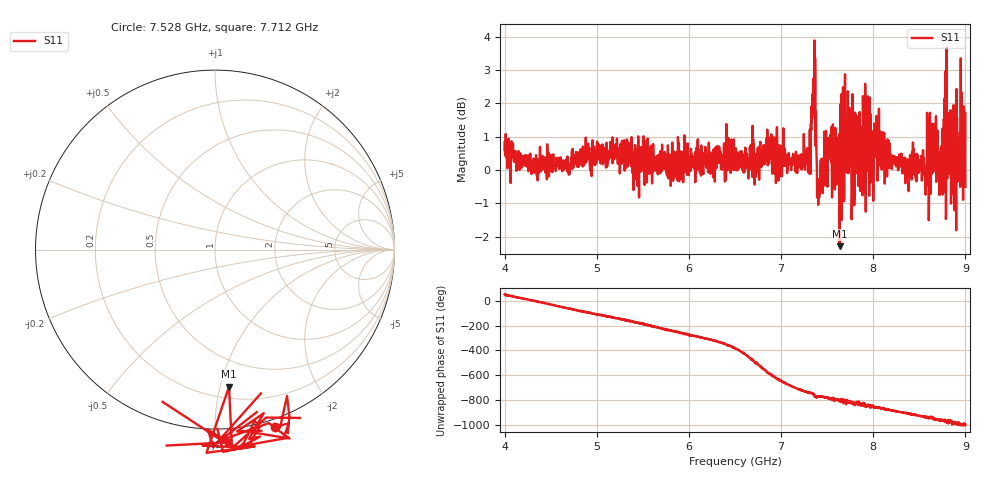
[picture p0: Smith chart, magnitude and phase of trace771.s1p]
! Created with skrf 1.8.0 (http://scikit-rf.org).
# Hz S RI R 50.0
!freq ReS11 ImS11
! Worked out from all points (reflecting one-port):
!   1601 points, 4 GHz to 9 GHz, reference 50 ohm
!   lowest |S11| = -2.3 dB at 7.634 GHz (marker M1), VSWR 7.63, Z = 14.3 - j53.3 ohm
!   phase of S11 starts at 51 deg and turns -1051 deg over the sweep
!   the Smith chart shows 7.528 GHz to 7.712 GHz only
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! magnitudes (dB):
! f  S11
! 4 GHz  0.6
! 4.625 GHz  0.0
! 5.25 GHz  -0.1
! 5.875 GHz  0.3
! 6.5 GHz  0.4
! 6.869 GHz  0.2
! 7.125 GHz  0.3
! 7.294 GHz  -0.1
! 7.347 GHz  2.3
! 7.362 GHz  3.9
! 7.4 GHz  -0.4
! 7.412 GHz  -0.8
! 7.512 GHz  0.9
! 7.634 GHz  -2.3
! 7.716 GHz  -0.1
! 7.75 GHz  0.7
! 7.784 GHz  0.7
! 7.928 GHz  1.1
! 7.981 GHz  0.4
! 8.038 GHz  0.5
! 8.375 GHz  -0.1
! 8.581 GHz  -0.4
! 8.656 GHz  1.4
! 8.738 GHz  0.6
! 8.819 GHz  0.7
! 8.875 GHz  0.2
! 8.972 GHz  0.8
! 9 GHz  -0.5
